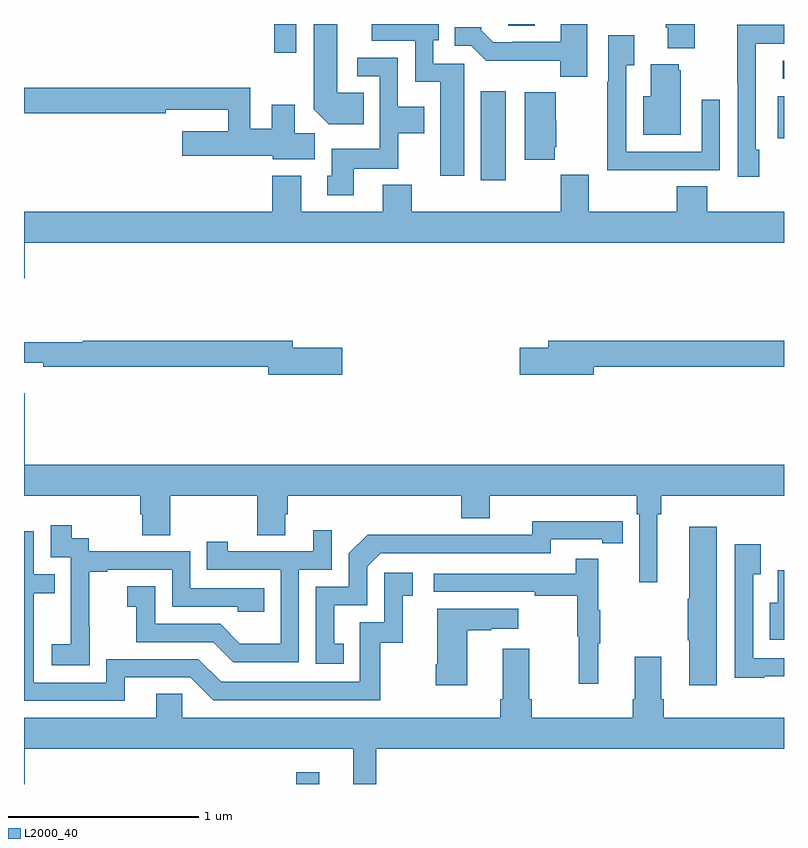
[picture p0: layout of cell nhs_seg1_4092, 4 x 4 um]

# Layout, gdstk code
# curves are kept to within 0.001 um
import gdstk
lib = gdstk.Library(unit=1e-6, precision=1e-09)
def R(c, l, rs):  # rectangles x0, y0, x1, y1
    for r in rs: c.add(gdstk.rectangle(r[:2], r[2:], *l))
def P(c, l, *ps):  # polygons
    for p in ps: c.add(gdstk.Polygon(p, *l))
L2000_40 = (2000, 40)

nhs_seg1_4092 = lib.new_cell('nhs_seg1_4092')
R(nhs_seg1_4092, L2000_40, [(334.434,566.199,334.555,566.26), (335.405,569.376,335.536,569.845), (336.968,569.599,337,569.818), (336.993,569.91,337,570.006), (334.318,570.048,334.434,570.199), (335.549,570.19,335.689,570.199)])
P(nhs_seg1_4092, L2000_40, [(335.317,569.991),(335.154,569.991),(335.154,570.114),(335.182,570.114),(335.182,570.199),(334.83,570.199),(334.83,570.11),(335.058,570.11),(335.058,569.894),(335.192,569.894),(335.192,569.4),(335.317,569.4)],
  [(334.787,569.836),(334.648,569.836),(334.648,570.199),(334.526,570.199),(334.526,569.75),(334.604,569.672),(334.787,569.672)],
  [(335.965,570.199),(335.825,570.199),(335.825,570.105),(335.569,570.105),(335.569,570.102),(335.47,570.102),(335.406,570.166),(335.406,570.181),(335.267,570.181),(335.267,570.084),(335.355,570.084),(335.434,570.006),(335.823,570.006),(335.823,569.921),(335.965,569.921)],
  [(336.529,570.199),(336.377,570.199),(336.377,570.178),(336.389,570.178),(336.389,570.071),(336.529,570.071)],
  [(336.871,569.538),(336.852,569.538),(336.852,570.096),(337,570.096),(337,570.194),(336.754,570.194),(336.754,569.887),(336.756,569.887),(336.756,569.394),(336.871,569.394)],
  [(336.347,569.43),(336.663,569.43),(336.663,569.8),(336.567,569.8),(336.567,569.526),(336.171,569.526),(336.171,569.983),(336.211,569.983),(336.211,570.139),(336.075,570.139),(336.075,569.894),(336.07,569.894),(336.07,569.429),(336.347,569.429)],
  [(334.735,569.438),(334.971,569.438),(334.971,569.624),(335.107,569.624),(335.107,569.764),(334.968,569.764),(334.968,570.021),(334.755,570.021),(334.755,569.925),(334.872,569.925),(334.872,569.542),(334.619,569.542),(334.619,569.4),(334.595,569.4),(334.595,569.298),(334.735,569.298)],
  [(336.457,569.955),(336.446,569.955),(336.446,569.986),(336.299,569.986),(336.299,569.818),(336.26,569.818),(336.26,569.615),(336.457,569.615)],
  [(334.531,569.624),(334.426,569.624),(334.426,569.773),(334.304,569.773),(334.304,569.648),(334.191,569.648),(334.191,569.864),(333,569.864),(333,569.728),(333.746,569.728),(333.746,569.748),(334.075,569.748),(334.075,569.635),(333.834,569.635),(333.834,569.506),(334.308,569.506),(334.308,569.486),(334.531,569.486)],
  [(335.794,569.55),(335.8,569.55),(335.8,569.691),(335.798,569.691),(335.798,569.839),(335.636,569.839),(335.636,569.485),(335.794,569.485)],
  [(336.436,569.345),(336.436,569.212),(335.973,569.212),(335.973,569.405),(335.825,569.405),(335.825,569.212),(335.042,569.212),(335.042,569.353),(334.889,569.353),(334.889,569.212),(334.459,569.212),(334.459,569.401),(334.307,569.401),(334.307,569.212),(333,569.212),(333,568.86),(333.004,568.86),(333.004,569.048),(337,569.048),(337,569.212),(336.596,569.212),(336.596,569.345)],
  [(334.675,568.496),(334.414,568.496),(334.414,568.532),(333.31,568.532),(333.31,568.525),(333,568.525),(333,568.415),(333.1,568.415),(333.1,568.396),(334.286,568.396),(334.286,568.354),(334.675,568.354)],
  [(335.998,568.396),(337,568.396),(337,568.532),(335.759,568.532),(335.759,568.496),(335.61,568.496),(335.61,568.354),(335.998,568.354)],
  [(333.004,568.255),(333,568.255),(333,567.716),(333.611,567.716),(333.611,567.618),(333.623,567.618),(333.623,567.508),(333.771,567.508),(333.771,567.716),(334.228,567.716),(334.228,567.508),(334.375,567.508),(334.375,567.618),(334.388,567.618),(334.388,567.716),(335.3,567.716),(335.3,567.599),(335.452,567.599),(335.452,567.716),(336.224,567.716),(336.224,567.62),(336.237,567.62),(336.237,567.261),(336.334,567.261),(336.334,567.62),(336.353,567.62),(336.353,567.716),(337,567.716),(337,567.88),(333.004,567.88)],
  [(334.682,566.937),(334.633,566.937),(334.633,567.141),(334.806,567.141),(334.806,567.342),(334.878,567.414),(335.772,567.414),(335.772,567.486),(336.044,567.486),(336.044,567.466),(336.152,567.466),(336.152,567.582),(335.676,567.583),(335.676,567.51),(335.216,567.51),(335.216,567.512),(334.808,567.512),(334.71,567.414),(334.71,567.237),(334.536,567.237),(334.536,566.832),(334.682,566.832)],
  [(333.345,567.031),(333.344,567.031),(333.344,567.315),(333.439,567.315),(333.439,567.327),(333.78,567.327),(333.78,567.132),(334.125,567.132),(334.125,567.105),(334.265,567.105),(334.265,567.228),(333.876,567.228),(333.876,567.423),(333.342,567.423),(333.342,567.492),(333.25,567.492),(333.25,567.562),(333.141,567.562),(333.141,567.393),(333.246,567.393),(333.246,567.164),(333.245,567.164),(333.245,566.935),(333.147,566.935),(333.147,566.825),(333.345,566.825)],
  [(336.646,567.553),(336.5,567.553),(336.5,567.173),(336.493,567.173),(336.493,566.956),(336.5,566.956),(336.5,566.718),(336.646,566.718)],
  [(334.446,567.327),(334.62,567.327),(334.62,567.535),(334.523,567.535),(334.523,567.423),(334.072,567.423),(334.072,567.475),(333.961,567.475),(333.961,567.327),(334.35,567.327),(334.35,566.938),(334.136,566.938),(334.032,567.042),(333.69,567.042),(333.69,567.241),(333.543,567.241),(333.543,567.131),(333.592,567.131),(333.592,566.946),(333.995,566.946),(334.1,566.841),(334.446,566.841)],
  [(333.529,566.76),(333.876,566.76),(333.996,566.64),(334.876,566.64),(334.876,566.943),(334.994,566.943),(334.994,567.189),(335.047,567.189),(335.047,567.31),(334.896,567.31),(334.896,567.051),(334.767,567.051),(334.767,566.736),(334.038,566.736),(333.918,566.856),(333.432,566.856),(333.432,566.733),(333.051,566.733),(333.051,567.202),(333.161,567.202),(333.161,567.303),(333.051,567.303),(333.051,567.528),(333,567.528),(333,566.637),(333.529,566.637)],
  [(336.897,566.766),(337,566.766),(337,566.862),(336.837,566.862),(336.837,567.304),(336.877,567.304),(336.877,567.46),(336.741,567.46),(336.741,566.759),(336.897,566.759)],
  [(336.023,566.939),(336.034,566.939),(336.034,567.113),(336.023,567.113),(336.023,567.385),(335.905,567.385),(335.905,567.306),(335.157,567.306),(335.157,567.21),(335.689,567.21),(335.689,567.19),(335.913,567.19),(335.913,566.976),(335.92,566.976),(335.92,566.727),(336.023,566.727)],
  [(337,567.324),(336.968,567.324),(336.968,567.154),(336.926,567.154),(336.926,566.957),(337,566.957)],
  [(335.332,567.007),(335.459,567.007),(335.459,567.017),(335.602,567.017),(335.602,567.121),(335.174,567.121),(335.174,566.83),(335.167,566.83),(335.167,566.718),(335.332,566.718)],
  [(333.004,566.384),(334.733,566.384),(334.733,566.199),(334.855,566.199),(334.855,566.384),(337,566.384),(337,566.548),(336.368,566.548),(336.368,566.644),(336.355,566.644),(336.355,566.869),(336.215,566.869),(336.215,566.644),(336.203,566.644),(336.203,566.548),(335.672,566.548),(335.672,566.644),(335.659,566.644),(335.659,566.911),(335.519,566.911),(335.519,566.644),(335.507,566.644),(335.507,566.548),(333.834,566.548),(333.834,566.675),(333.695,566.675),(333.695,566.548),(333,566.548),(333,566.199),(333.004,566.199)])

lib.write_gds('nhs_seg1_4092.gds')
